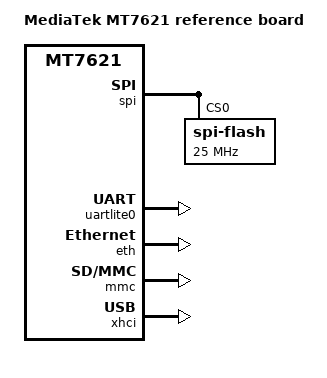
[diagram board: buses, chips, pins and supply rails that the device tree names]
// SPDX-License-Identifier: GPL-2.0+
/*
 * Copyright (C) 2018 MediaTek Inc.
 *
 * Author: Weijie Gao <weijie.gao@mediatek.com>
 */

/dts-v1/;
#include "mt7621.dtsi"

/ {
	model = "MediaTek MT7621 reference board";
	compatible = "mediatek,mt7621-rfb", "mediatek,mt7621-soc";

	aliases {
		spi0 = &spi;
	};

	chosen {
		stdout-path = &uartlite0;
	};
};

&pinctrl {
	state_default: pinmux_conf {
		spi {
			groups = "spi";
			function = "spi";
		};

		sdhci {
			groups = "sdhci";
			function = "sdhci";
		};
	};
};

&gpio {
	status = "okay";
};

&i2c {
	gpios = <&gpio 3 1>, /* PIN3 as SDA */
		<&gpio 4 1>; /* PIN4 as CLK */
	status = "disabled";
};

&spi {
	spi-max-frequency = <25000000>;
	status = "okay";

	spi-flash@0 {
		#address-cells = <1>;
		#size-cells = <1>;
		compatible = "spi-flash";
		spi-max-frequency = <25000000>;
		reg = <0>;
	};
};

&uartlite0 {
	status = "okay";
};

&eth {
	status = "okay";
};

&mmc {
	status = "okay";
};

&xhci {
	status = "okay";
};
